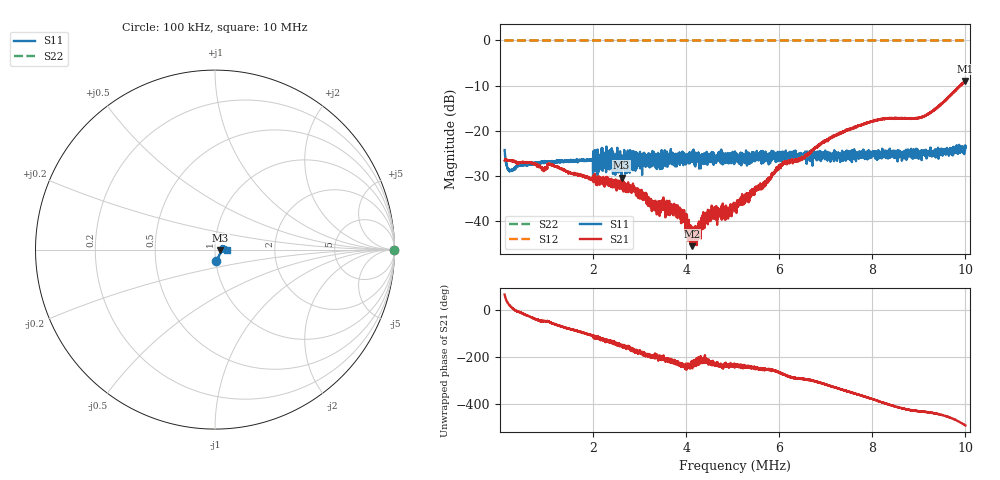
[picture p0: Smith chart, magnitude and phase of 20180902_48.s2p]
! Anritsu VNA Master:  Model: MS2026C/19
! SN:  1815009
! /card0/usr/20180902_48.s2p
! Existing Calibration Information:
! TYPE:  Current Settings,  Active Cal Settings
! TIME:  09/03/2018 01:37:04 AM,  09/02/2018 11:58:48 AM
! INTERNAL TEMP:  47.3 C,  48.8 C
! # POINTS:  4001,  4001
! START FREQ:  100.000 kHz,  100.000 kHz
! STOP FREQ:  10.000 MHz,  10.000 MHz
! SOURCE POWER:  Low,  Low
! IFBW:  500 Hz,  500 Hz
! AVG FACTOR:  3 ,  1
! REF PLANE 1:  0 mm,  0 mm
! REF PLANE 2:  0 mm,  0 mm
! CAL TYPE:  1P2P S11,S21,  1P2P S11,S21
! CAL METHOD:  SOLT,  SOLT
! CAL LINE TYPE:  Coax,  Coax
! DUT PORT 1:  N-Conn(M),  N-Conn(M)
! DUT PORT 2:  N-Conn(M),  N-Conn(M)
! CAL STATUS:  OK: Accuracy High,  --
# GHZ S RI R 50.0
! FREQ.GHZ  S11RE  S11IM  S21RE  S21IM  S12RE  S12IM  S22RE  S22IM
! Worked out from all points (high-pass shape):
!   4001 points, 100 kHz to 10 MHz, reference 50 ohm
!   highest |S21| = -8.98 dB at 9.995 MHz (marker M1); lowest = -45.5 dB at 4.124 MHz (marker M2)
!   |S21| within 3 dB of the highest: 9.697594 MHz to 9.705428 MHz (7.834 kHz wide, 0.0808 % of centre); 9.706 MHz to end of sweep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
!   lowest |S11| = -30.3 dB at 2.612 MHz (marker M3), VSWR 1.06, Z = 53.1 - j0.297 ohm
!   |S11| at or under -10 dB: start of sweep to end of sweep
!   |S22| runs from 0.0 to 0.0 dB; largest |S21 - S12| = 1.3
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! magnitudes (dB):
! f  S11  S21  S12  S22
! 100 kHz  -24.2  -26.6  0.0  0.0
! 169.3 kHz  -28.3  -26.5  0.0  0.0
! 223.8 kHz  -28.7  -26.6  0.0  0.0
! 939 kHz  -26.9  -28.5  0.0  0.0
! 1.088 MHz  -26.9  -27.3  0.0  0.0
! 1.751 MHz  -26.4  -29.7  0.0  0.0
! 2.612 MHz  -30.3  -30.8  0.0  0.0
! 3.402 MHz  -27.9  -37.8  0.0  0.0
! 3.822 MHz  -26.8  -37.4  0.0  0.0
! 4.124 MHz  -26.9  -45.5  0.0  0.0
! 4.204 MHz  -25.8  -42.5  0.0  0.0
! 4.392 MHz  -25.3  -41.5  0.0  0.0
! 4.582 MHz  -25.9  -38.5  0.0  0.0
! 5.05 MHz  -24.6  -36.5  0.0  0.0
! 5.674 MHz  -25.2  -32.1  0.0  0.0
! 6.087 MHz  -25.4  -27.3  0.0  0.0
! 6.701 MHz  -25.6  -24.6  0.0  0.0
! 7.443 MHz  -24.5  -20.0  0.0  0.0
! 8.352 MHz  -25.2  -17.3  0.0  0.0
! 9.129 MHz  -25.2  -16.8  0.0  0.0
! 9.995 MHz  -23.2  -9.0  0.0  0.0
! 10 MHz  -23.5  -9.0  0.0  0.0
